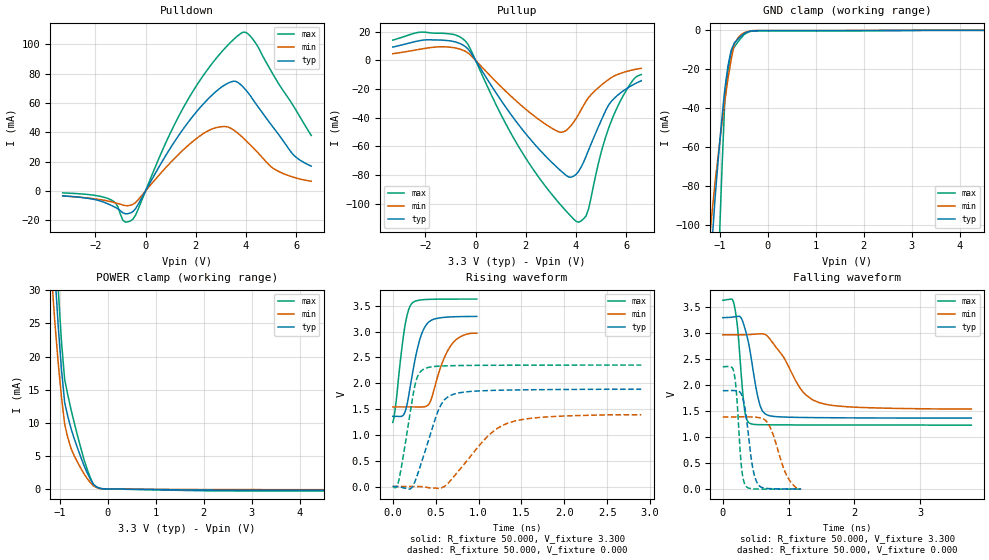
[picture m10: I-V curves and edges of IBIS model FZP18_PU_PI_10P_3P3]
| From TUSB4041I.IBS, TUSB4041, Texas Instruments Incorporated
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|   Model Cell FZP18_PU_PI_10P_3P3
|BC3340DSHYPBFZP18_PU_PI_10P_3P3
[Model]   FZP18_PU_PI_10P_3P3
Model_type   I/O
Polarity   Non-Inverting
Enable   Active-Low
Vinl =  0.8V
Vinh =  2V
Cref =  7pF
Rref =  100.00M
Vref =  0V
Vmeas =  1.65
C_comp   1.726631p   1.582948p   1.812054p
[Model Spec]
Vinl   0.8V   0.8V   0.8V
Vinh   2V   2V   2V
[Temperature Range]   25   125   -40
[Voltage Range]   3.3   2.97   3.63
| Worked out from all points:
|   slope of the pulldown table from 0 to 0.495 V, typ, clamps not added: 32.6 ohm
|   slope of the pullup table from 0 to 0.495 V, typ, clamps not added: 35.4 ohm
|   GND clamp passes 1 mA (typ) near -0.44 V on its own axis
|   POWER clamp passes 1 mA (typ) near -0.33 V on its own axis
|   rising waveform, R_fixture 50.000, V_fixture 3.300: 20-80 % time 142ps typ, 186ps min, 103ps max; typ from 1.36 V to 3.29 V
|   rising waveform, R_fixture 50.000, V_fixture 0.000: 20-80 % time 223ps typ, 452ps min, 138ps max; typ from 0.004 V to 1.89 V
|   falling waveform, R_fixture 50.000, V_fixture 3.300: 20-80 % time 163ps typ, 413ps min, 93.5ps max; typ from 3.3 V to 1.37 V
|   falling waveform, R_fixture 50.000, V_fixture 0.000: 20-80 % time 117ps typ, 220ps min, 74.4ps max; typ from 1.9 V to 0.007 V
[POWER_clamp]
|   voltage   I(typ)   I(min)   I(max)
-3.3V     369.6mA    284.8mA    471.9mA
-1.167V   41.09mA    31.46mA    51.28mA
-1.1V     32.22mA    24.77mA    39.98mA
-1.033V   24.47mA    18.92mA    30.09mA
-966.7mV  18.08mA    13.92mA    22.27mA
-900mV    13.06mA    9.763mA    16.52mA
-766.7mV  9.1mA      6.122mA    11.98mA
-500mV    3.584mA    2.324mA    4.526mA
-300mV    669.8uA    453.6uA    665.1uA
-233.3mV  297.2uA    211.9uA    283.3uA
1.967V    -169.8uA   -90.3uA    -272.6uA
6.6V      -184.2uA   -116.5uA   -312.8uA
[Pulldown]
|   voltage   I(typ)   I(min)   I(max)
-3.3V     -3.365mA   -3.408mA   -1.35mA
-1.5V     -8.823mA   -6.868mA   -5.16mA
-1.2V     -11.25mA   -8.144mA   -8.195mA
-900mV    -14.96mA   -9.653mA   -20.07mA
-500mV    -14.05mA   -9.144mA   -19.19mA
1.1V      32.18mA    21.23mA    43.46mA
2.4V      61.1mA     40.13mA    81.13mA
3.4V      74.34mA    42.73mA    101.5mA
3.9V      70.64mA    35.96mA    108.3mA
5.1V      43.02mA    15.26mA    78.93mA
5.9V      24.48mA    9.306mA    57.71mA
6.6V      16.92mA    6.609mA    37.85mA
[Pullup]
|   voltage   I(typ)   I(min)   I(max)
-3.3V     9.309mA    4.668mA    14.12mA
-2.1V     14.15mA    8.14mA     19.77mA
-400mV    9.542mA    6.3mA      13.38mA
1.5V      -39.97mA   -26.45mA   -53.78mA
3.2V      -73.97mA   -49mA      -97.05mA
3.7V      -81.4mA    -47.46mA   -107mA
4.1V      -77.58mA   -37.73mA   -113mA
4.5V      -62.66mA   -25.98mA   -103.7mA
5V        -42.07mA   -17.41mA   -64.41mA
5.5V      -26.88mA   -11.08mA   -38.35mA
6.2V      -17.74mA   -6.877mA   -15.47mA
6.6V      -14.22mA   -5.549mA   -9.882mA
[GND_clamp]
|   voltage   I(typ)   I(min)   I(max)
-3.3V     -996.3mA   -831.9mA   -2.048A
-1.233V   -134.2mA   -111.3mA   -283.3mA
-1.167V   -109.2mA   -93.7mA    -227.5mA
-1.1V     -85.34mA   -77.41mA   -172.4mA
-1.033V   -65.28mA   -63.15mA   -121.7mA
-966.7mV  -46.91mA   -49.47mA   -76.39mA
-900mV    -30.23mA   -36.37mA   -36.32mA
-833.3mV  -18.18mA   -24.83mA   -20.53mA
-766.7mV  -10.24mA   -15.03mA   -11.25mA
-700mV    -6.403mA   -6.967mA   -8.474mA
-500mV    -1.721mA   -1.282mA   -2.254mA
6.6V      0A         0A         0A
[Ramp]
| variable   typ   min   max
dV/dt_f   1.178019/0.1660576n  0.8577423/0.4365275n   1.453588/94.5375p
dV/dt_r   1.16633/0.2292103n  0.8502158/0.4862978n   1.448067/0.1399383n
R_load = 50
[Rising Waveform]
R_fixture = 50.000
V_fixture = 3.300
V_fixture_min = 2.970
V_fixture_max = 3.630
|  time   V(typ)   V(min)   V(max)
0s        1.362V     1.544V     1.243V
34.5ps    1.361V     1.544V     1.584V
133.5ps   1.411V     1.544V     3.019V
211.5ps   2.011V     1.544V     3.521V
310.5ps   2.819V     1.542V     3.609V
405ps     3.162V     1.57V      3.623V
456ps     3.225V     1.729V     3.626V
576ps     3.272V     2.395V     3.628V
675ps     3.285V     2.725V     3.629V
979.5ps   3.294V     2.97V      3.63V
[Rising Waveform]
R_fixture = 50.000
V_fixture = 0.000
V_fixture_min = 0.000
V_fixture_max = 0.000
|  time   V(typ)   V(min)   V(max)
0s        3.59mV     4.28mV     9.733mV
70.5ps    134.1uV    4.269mV    121.4mV
214.5ps   -29.56mV   4.306mV    1.551V
273ps     161.6mV    4.301mV    2.055V
358.5ps   591.2mV    -1.511mV   2.273V
565.5ps   1.596V     -24.23mV   2.335V
702ps     1.785V     175.6mV    2.342V
1.113ns   1.86V      983.9mV    2.348V
1.355ns   1.87V      1.239V     2.35V
2.897ns   1.885V     1.392V     2.353V
[Falling Waveform]
R_fixture = 50.000
V_fixture = 3.300
V_fixture_min = 2.970
V_fixture_max = 3.630
|  time   V(typ)   V(min)   V(max)
0s        3.299V     2.97V      3.633V
166.5ps   3.314V     2.969V     3.58V
228ps     3.324V     2.97V      3.061V
331.5ps   3.111V     2.972V     1.521V
418.5ps   2.622V     2.975V     1.264V
565.5ps   1.61V      2.989V     1.243V
711ps     1.414V     2.897V     1.241V
1.22ns    1.382V     1.87V      1.238V
1.466ns   1.378V     1.665V     1.237V
3.776ns   1.369V     1.544V     1.235V
[Falling Waveform]
R_fixture = 50.000
V_fixture = 0.000
V_fixture_min = 0.000
V_fixture_max = 0.000
|  time   V(typ)   V(min)   V(max)
0s        1.895V     1.392V     2.356V
172.5ps   1.899V     1.392V     2.225V
207ps     1.894V     1.393V     1.865V
285ps     1.819V     1.394V     408.7mV
346.5ps   1.485V     1.393V     66.62mV
453ps     422.5mV    1.392V     10.7mV
529.5ps   106.4mV    1.383V     6.697mV
684ps     17.09mV    1.272V     5.906mV
976.5ps   8.486mV    253.6mV    5.741mV
1.19ns    7.386mV    4.28mV     5.677mV
